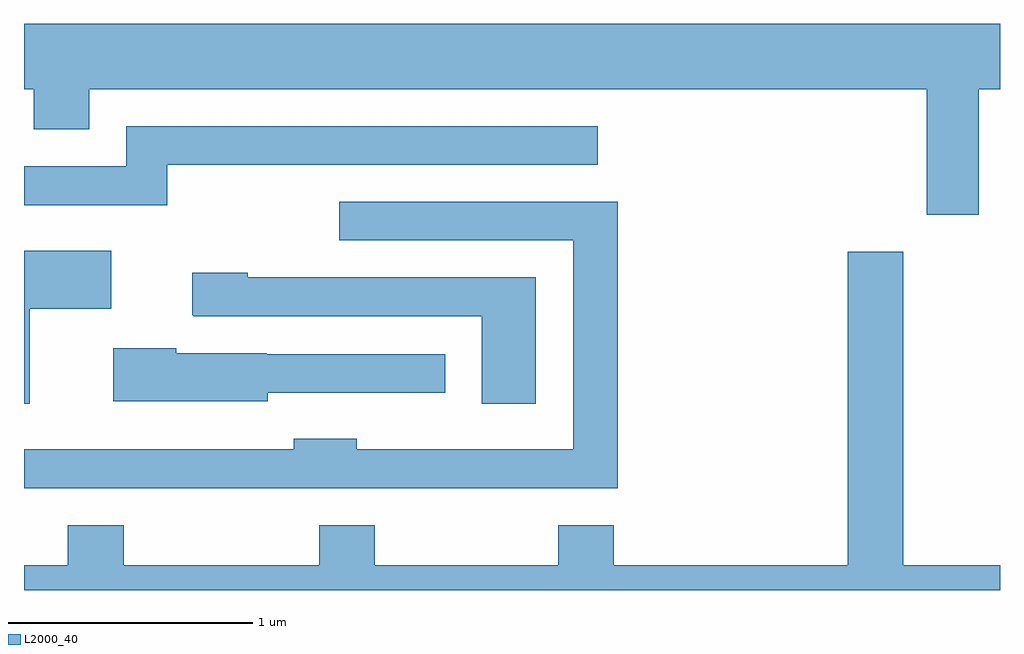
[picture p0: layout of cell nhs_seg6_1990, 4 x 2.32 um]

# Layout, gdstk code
import gdstk
lib = gdstk.Library(unit=1e-6, precision=1e-09)
def P(c, l, *ps):  # polygons
    for p in ps: c.add(gdstk.Polygon(p, *l))
L2000_40 = (2000, 40)

nhs_seg6_1990 = lib.new_cell('nhs_seg6_1990')
P(nhs_seg6_1990, L2000_40, [(245.611,1592.216),(245.651,1592.216),(245.651,1592.051),(245.879,1592.051),(245.879,1592.216),(249.311,1592.216),(249.311,1591.701),(249.524,1591.701),(249.524,1592.216),(249.611,1592.216),(249.611,1592.484),(245.611,1592.484)],
  [(246.199,1591.906),(247.963,1591.906),(247.963,1592.064),(246.031,1592.064),(246.031,1591.899),(245.611,1591.899),(245.611,1591.741),(246.199,1591.741)],
  [(248.044,1591.754),(246.903,1591.754),(246.903,1591.596),(247.861,1591.596),(247.861,1590.739),(246.974,1590.739),(246.974,1590.784),(246.716,1590.784),(246.716,1590.739),(245.611,1590.739),(245.611,1590.581),(248.044,1590.581)],
  [(245.634,1591.316),(245.969,1591.316),(245.969,1591.554),(245.611,1591.554),(245.611,1590.926),(245.634,1590.926)],
  [(249.611,1590.264),(249.214,1590.264),(249.214,1591.549),(248.986,1591.549),(248.986,1590.264),(248.029,1590.264),(248.029,1590.429),(247.801,1590.429),(247.801,1590.264),(247.049,1590.264),(247.049,1590.429),(246.821,1590.429),(246.821,1590.264),(246.019,1590.264),(246.019,1590.429),(245.791,1590.429),(245.791,1590.264),(245.611,1590.264),(245.611,1590.162),(249.611,1590.162)],
  [(247.709,1591.444),(246.529,1591.444),(246.529,1591.464),(246.301,1591.464),(246.301,1591.292),(246.307,1591.286),(247.486,1591.286),(247.486,1590.926),(247.709,1590.926)],
  [(246.609,1590.971),(247.338,1590.971),(247.338,1591.129),(246.605,1591.129),(246.605,1591.134),(246.234,1591.134),(246.234,1591.154),(245.976,1591.154),(245.976,1590.936),(246.609,1590.936)])

lib.write_gds('nhs_seg6_1990.gds')
